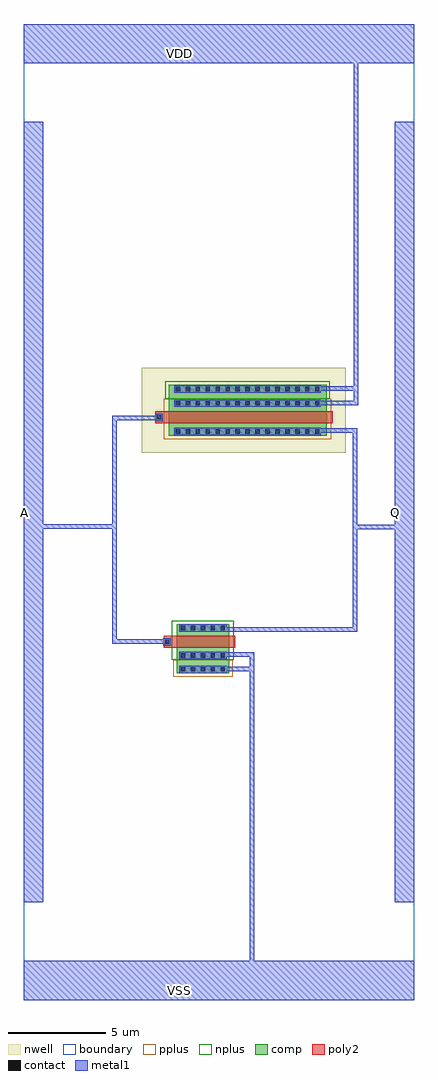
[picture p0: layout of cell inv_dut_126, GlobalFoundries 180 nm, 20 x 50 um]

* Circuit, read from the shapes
.subckt inv_dut_126 A Q VDD VSS
XM1 Q A VSS VSS nfet_03v3 w=2.7u l=0.6u
XM2 VDD A Q VDD pfet_03v3 w=8.1u l=0.6u
.ends

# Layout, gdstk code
from math import pi, radians
import gdstk
lib = gdstk.Library(unit=1e-6, precision=1e-09)
def R(c, l, rs):  # rectangles x0, y0, x1, y1
    for r in rs: c.add(gdstk.rectangle(r[:2], r[2:], *l))
def A(c, l, x, y, w, h, nx, ny, dx, dy):  # array of equal rectangles
    R(c, l, [(x+i*dx, y+j*dy, x+i*dx+w, y+j*dy+h) for i in range(nx) for j in range(ny)])
boundary = (0, 0)
nwell = (21, 0)
comp = (22, 0)
poly2 = (30, 0)
pplus = (31, 0)
nplus = (32, 0)
contact = (33, 0)
metal1 = (34, 0)

nfet = lib.new_cell('nfet')
R(nfet, comp, [(-0.42,0,2.11,2.7)])
R(nfet, poly2, [(0.19,-0.66,0.79,3)])
R(nfet, pplus, [(1.4,-0.17,2.28,2.87)])
R(nfet, nplus, [(-0.59,-0.24,1.4,2.94)])
A(nfet, contact, -0.32, 0.22, 0.22, 0.22, 1, 5, 0, 0.51)
A(nfet, contact, 1.08, 0.22, 0.22, 0.22, 1, 5, 0, 0.51)
A(nfet, contact, 1.79, 0.22, 0.22, 0.22, 1, 5, 0, 0.51)
R(nfet, contact, [(0.38,-0.59,0.6,-0.37)])
R(nfet, metal1, [(0.3,-0.67,0.68,-0.29), (-0.4,0.14,-0.02,2.56), (1,0.14,1.38,2.56), (1.71,0.14,2.09,2.56)])

pfet = lib.new_cell('pfet')
R(pfet, nwell, [(-1.32,-0.99,3.03,9.47)])
R(pfet, comp, [(-0.46,0,2.17,8.1)])
R(pfet, poly2, [(0.19,-0.3,0.79,8.78)])
R(pfet, pplus, [(-0.63,-0.24,1.44,8.34)])
R(pfet, nplus, [(1.44,-0.17,2.34,8.27)])
A(pfet, contact, -0.34, 0.37, 0.22, 0.22, 1, 15, 0, 0.51)
A(pfet, contact, 1.1, 0.37, 0.22, 0.22, 1, 15, 0, 0.51)
A(pfet, contact, 1.83, 0.37, 0.22, 0.22, 1, 15, 0, 0.51)
R(pfet, contact, [(0.38,8.48,0.6,8.7)])
R(pfet, metal1, [(-0.42,0.29,-0.04,7.81), (1.02,0.29,1.4,7.81), (1.75,0.29,2.13,7.81), (0.3,8.4,0.68,8.78)])

inv_dut_126 = lib.new_cell('inv_dut_126')
R(inv_dut_126, boundary, [(-10,-25,10,25)])
R(inv_dut_126, metal1, [(-10,-25,10,-23), (-10,-20,-9,20), (9,-20,10,20), (-10,23,10,25)])
inv_dut_126.add(gdstk.FlexPath([(-3.07,4.825),(-5.35,4.825),(-5.35,-6.645),(-2.685,-6.645)], 0.23, ends="flush", simple_path=True, layer=34, datatype=0))  # metal1
inv_dut_126.add(gdstk.FlexPath([(-9.285,-0.75),(-5.28,-0.75)], 0.23, ends="flush", simple_path=True, layer=34, datatype=0))  # metal1
inv_dut_126.add(gdstk.FlexPath([(-1.845,-7.305),(1.685,-7.305),(1.685,-23.325)], 0.23, ends="flush", simple_path=True, layer=34, datatype=0))  # metal1
inv_dut_126.add(gdstk.FlexPath([(-2.22,5.575),(7.025,5.575),(7.025,23.465)], 0.23, ends="flush", simple_path=True, layer=34, datatype=0))  # metal1
inv_dut_126.add(gdstk.FlexPath([(-1.85,-8.055),(1.735,-8.055)], 0.23, ends="flush", simple_path=True, layer=34, datatype=0))  # metal1
inv_dut_126.add(gdstk.FlexPath([(-2.135,6.315),(6.995,6.315)], 0.23, ends="flush", simple_path=True, layer=34, datatype=0))  # metal1
inv_dut_126.add(gdstk.FlexPath([(-2.16,4.18),(6.97,4.18),(6.97,-6.03),(-1.905,-6.03)], 0.23, ends="flush", simple_path=True, layer=34, datatype=0))  # metal1
inv_dut_126.add(gdstk.FlexPath([(7.055,-0.77),(9.84,-0.77)], 0.23, ends="flush", simple_path=True, layer=34, datatype=0))  # metal1
inv_dut_126.add(gdstk.Reference(nfet, (-2.175,-6.16), rotation=3*pi/2))
inv_dut_126.add(gdstk.Reference(pfet, (5.515,4.36), rotation=pi/2))
inv_dut_126.add(gdstk.Label('VDD', (-2,23.5), layer=34, texttype=10))
inv_dut_126.add(gdstk.Label('VSS', (-2,-24.5), layer=34, texttype=10))
inv_dut_126.add(gdstk.Label('A', (-9.97,0), layer=34, texttype=10))
inv_dut_126.add(gdstk.Label('Q', (9.03,0), layer=34, texttype=10))

lib.write_gds('inv_dut_126.gds')
